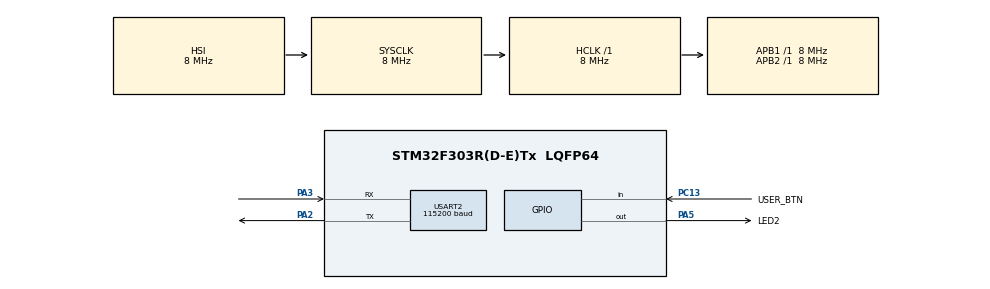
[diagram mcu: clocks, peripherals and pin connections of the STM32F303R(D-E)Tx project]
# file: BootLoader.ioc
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Mcu.Family=STM32F3
Mcu.Name=STM32F303R(D-E)Tx
Mcu.Package=LQFP64
NVIC.PriorityGroup=NVIC_PRIORITYGROUP_0
PA2.Mode=Asynchronous
PA2.Signal=USART2_TX
PA3.Mode=Asynchronous
PA3.Signal=USART2_RX
PA5.GPIO_Label=LED2
PA5.Signal=GPIO_Output
PC13.GPIO_Label=USER_BTN
PC13.Signal=GPIO_Input
ProjectManager.HeapSize=0x200
ProjectManager.StackSize=0x400
ProjectManager.TargetToolchain=STM32CubeIDE
RCC.AHBFreq_Value=8000000
RCC.APB1Freq_Value=8000000
RCC.APB2Freq_Value=8000000
RCC.CortexFreq_Value=8000000
RCC.HSE_VALUE=8000000
RCC.HSI_VALUE=8000000
RCC.LSE_VALUE=32768
RCC.SYSCLKFreq_VALUE=8000000
RCC.USBFreq_Value=16000000
USART2.BaudRate=115200
USART2.VirtualMode-Asynchronous=VM_ASYNC
VP_CRC_VS_CRC.Mode=CRC_Activate
board=custom

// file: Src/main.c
/* USER CODE BEGIN Header */
/**
  ******************************************************************************
  * @file           : main.c
  * @brief          : Main program body
  ******************************************************************************
  * @attention
  *
  * <h2><center>&copy; Copyright (c) 2020 STMicroelectronics.
  * All rights reserved.</center></h2>
  *
  * This software component is licensed by ST under BSD 3-Clause license,
  * the "License"; You may not use this file except in compliance with the
  * License. You may obtain a copy of the License at:
  *                        opensource.org/licenses/BSD-3-Clause
  *
  ******************************************************************************
  */
/* USER CODE END Header */

#include "main.h"

/* USER CODE BEGIN Includes */
#include <stdarg.h>
#include <string.h>
#include <stdint.h>

/* USER CODE END Includes */

/* USER CODE BEGIN PTD */
typedef enum
{
  NOT_BLINKING = 0U,
  BLINKING,
  TRANSITION_BLINK_TO_NOT_BLINKING,
  TRANSITION_TO_NOT_BLINKING
}Button_state_machine_t;

typedef enum
{
  BUTTON_PRESSED = 0U,
  BUTTON_RELEASED
}Button_status_t;

typedef struct
{
  uint16_t active_cnt;
  uint16_t deactive_cnt;
  const uint16_t hysteresis_cnt;
  Button_status_t current_btn_state_t;
}debounce_button_status_t;

/* USER CODE END PTD */

/* USER CODE BEGIN PD */
#define BL_DEBUG_MSG_EN
#define DEBUG_SERIAL_ENABLED_B 0
/* USER CODE END PD */

/* USER CODE BEGIN PM */
static void printmsg(char *format,...);

void bootloader_jump_to_user_app(void);
void bootloader_uart_read_data(void);
void bootloader_handle_getver_cmd(uint8_t *bl_rx_buffer);
void bootloader_handle_gethelp_cmd(uint8_t *pBuffer);
void bootloader_handle_getcid_cmd(uint8_t *pBuffer);
void bootloader_handle_getrdp_cmd(uint8_t *pBuffer);
void bootloader_handle_go_cmd(uint8_t *pBuffer);
void bootloader_handle_flash_erase_cmd(uint8_t *pBuffer);
void bootloader_handle_mem_write_cmd(uint8_t *pBuffer);
void bootloader_handle_en_rw_protect(uint8_t *pBuffer);
void bootloader_handle_mem_read (uint8_t *pBuffer);
void bootloader_handle_read_sector_protection_status(uint8_t *pBuffer);
void bootloader_handle_read_otp(uint8_t *pBuffer);
void bootloader_handle_dis_rw_protect(uint8_t *pBuffer);
uint8_t bootloader_verify_crc_swapped(uint8_t *pData, uint32_t len, uint32_t crc_host);
HAL_StatusTypeDef set_flash_rdp_level(uint8_t);
void bootloader_send_ack(uint8_t command_code, uint8_t follow_len);
void bootloader_send_nack(void);
HAL_StatusTypeDef disable_write_flash_prot(uint8_t page_number);

uint8_t bootloader_verify_crc (uint8_t *pData, uint32_t len,uint32_t crc_host);
uint8_t get_bootloader_version(void);
void bootloader_uart_write_data(uint8_t *pBuffer,uint32_t len);

uint16_t get_mcu_chip_id(void);
uint8_t get_flash_rdp_level(void);
uint8_t verify_address(uint32_t go_address);
uint8_t execute_flash_erase(uint8_t page_number , uint8_t number_of_page);
uint8_t execute_mem_write(uint8_t *pBuffer, uint32_t mem_address, uint32_t len);
uint32_t swap_byte_order(uint32_t num);

uint8_t configure_flash_sector_rw_protection(uint8_t sector_details, uint8_t protection_mode, uint8_t disable);

uint16_t read_OB_rw_protection_status(void);

uint32_t page_details_to_2pages(uint8_t page_details);

void init_debounce_struct_t(debounce_button_status_t *);

void init_debounce_struct_t(debounce_button_status_t *struct_t)
{
	struct_t->active_cnt = 0;
	struct_t->current_btn_state_t = BUTTON_RELEASED;
	struct_t->deactive_cnt = 0;
}

void debounc_btn(debounce_button_status_t *,const GPIO_PinState);

void debounc_btn(debounce_button_status_t *btn_status_t,const GPIO_PinState GPIO_return_t)
{
	uint32_t overflow_cntr = 0;
	if(GPIO_return_t == GPIO_PIN_RESET)
	{
		overflow_cntr = btn_status_t->active_cnt +1;
		if(overflow_cntr>65535)
		{
			btn_status_t->active_cnt = 65535;
		}
		else
		{
			btn_status_t->active_cnt = (uint16_t)overflow_cntr;
		}
		if(btn_status_t->active_cnt >= btn_status_t->hysteresis_cnt)
		{
			btn_status_t->current_btn_state_t = BUTTON_PRESSED;
		}
		else
		{
			btn_status_t->current_btn_state_t = BUTTON_RELEASED;
		}

	}
	else
	{
		btn_status_t->active_cnt = 0;
		btn_status_t->current_btn_state_t = BUTTON_RELEASED;
		overflow_cntr = btn_status_t->active_cnt +1;
		if(overflow_cntr>65535)
		{
			btn_status_t->deactive_cnt = 65535;
		}
		else
		{
			btn_status_t->deactive_cnt = (uint16_t)overflow_cntr;
		}
	}

}

/* USER CODE END PM */

CRC_HandleTypeDef hcrc;

UART_HandleTypeDef huart2;

/* USER CODE BEGIN PV */
#define D_UART &huart2
#define BL_RX_LEN 200
/* USER CODE END PV */

void SystemClock_Config(void);
static void MX_GPIO_Init(void);
static void MX_USART2_UART_Init(void);
static void MX_CRC_Init(void);

/* USER CODE BEGIN 0 */
static GPIO_PinState gpio_status_t = GPIO_PIN_RESET;
static debounce_button_status_t user_btn_status_t = {.hysteresis_cnt = 50};
static Button_state_machine_t button_state_t = NOT_BLINKING;
static HAL_StatusTypeDef uart_status_t;
char somedata[] = "Hello from Bootloader\r\n";
uint8_t bl_rx_buffer[BL_RX_LEN];
uint8_t supported_commands[] = {
                               BL_GET_VER ,
                               BL_GET_HELP,
                               BL_GET_CID,
                               BL_GET_RDP_STATUS,
                               BL_GO_TO_ADDR,
                               BL_FLASH_ERASE,
                               BL_MEM_WRITE,
                               BL_READ_SECTOR_P_STATUS} ;
/* USER CODE END 0 */

int main(void)
{

  /* MCU Configuration--------------------------------------------------------*/

  /* Reset of all peripherals, Initializes the Flash interface and the Systick. */
  HAL_Init();

  /* Configure the system clock */
  SystemClock_Config();

  /* Initialize all configured peripherals */
  MX_GPIO_Init();
  MX_USART2_UART_Init();
  MX_CRC_Init();
  /* USER CODE BEGIN 2 */
  init_debounce_struct_t(&user_btn_status_t);
  gpio_status_t = HAL_GPIO_ReadPin(USER_BTN_GPIO_Port,USER_BTN_Pin);
  if(gpio_status_t == GPIO_PIN_RESET)
  {
	  if(DEBUG_SERIAL_ENABLED_B)
	  {
		  printmsg("BL_DEBUG_MSG:Button is pressed .. going to BootLoader Mode\r\n");
	  }

	  bootloader_uart_read_data();
  }
  else
  {
	  if(DEBUG_SERIAL_ENABLED_B)
	  {
		  printmsg("BL_DEBUG_MSG:Button is not pressed .. going to execute user app\r\n");
	  }
	  bootloader_jump_to_user_app();
  }
  /* USER CODE END 2 */

  /* Infinite loop */
  /* USER CODE BEGIN WHILE */
  while (1)
  {

  }

  /* USER CODE END 3 */
}

void SystemClock_Config(void)
{
  RCC_OscInitTypeDef RCC_OscInitStruct = {0};
  RCC_ClkInitTypeDef RCC_ClkInitStruct = {0};
  RCC_PeriphCLKInitTypeDef PeriphClkInit = {0};

  /** Initializes the CPU, AHB and APB busses clocks
  */
  RCC_OscInitStruct.OscillatorType = RCC_OSCILLATORTYPE_HSI;
  RCC_OscInitStruct.HSIState = RCC_HSI_ON;
  RCC_OscInitStruct.HSICalibrationValue = RCC_HSICALIBRATION_DEFAULT;
  RCC_OscInitStruct.PLL.PLLState = RCC_PLL_NONE;
  if (HAL_RCC_OscConfig(&RCC_OscInitStruct) != HAL_OK)
  {
    Error_Handler();
  }
  /** Initializes the CPU, AHB and APB busses clocks
  */
  RCC_ClkInitStruct.ClockType = RCC_CLOCKTYPE_HCLK|RCC_CLOCKTYPE_SYSCLK
                              |RCC_CLOCKTYPE_PCLK1|RCC_CLOCKTYPE_PCLK2;
  RCC_ClkInitStruct.SYSCLKSource = RCC_SYSCLKSOURCE_HSI;
  RCC_ClkInitStruct.AHBCLKDivider = RCC_SYSCLK_DIV1;
  RCC_ClkInitStruct.APB1CLKDivider = RCC_HCLK_DIV1;
  RCC_ClkInitStruct.APB2CLKDivider = RCC_HCLK_DIV1;

  if (HAL_RCC_ClockConfig(&RCC_ClkInitStruct, FLASH_LATENCY_0) != HAL_OK)
  {
    Error_Handler();
  }
  PeriphClkInit.PeriphClockSelection = RCC_PERIPHCLK_USART2;
  PeriphClkInit.Usart2ClockSelection = RCC_USART2CLKSOURCE_PCLK1;
  if (HAL_RCCEx_PeriphCLKConfig(&PeriphClkInit) != HAL_OK)
  {
    Error_Handler();
  }
}

static void MX_CRC_Init(void)
{

  hcrc.Instance = CRC;
  hcrc.Init.DefaultPolynomialUse = DEFAULT_POLYNOMIAL_DISABLE;
  hcrc.Init.GeneratingPolynomial = 0x04C11DB7;
  hcrc.Init.DefaultInitValueUse = DEFAULT_INIT_VALUE_ENABLE;
  hcrc.Init.InputDataInversionMode = CRC_INPUTDATA_INVERSION_NONE;
  hcrc.Init.CRCLength = 32;
  hcrc.Init.OutputDataInversionMode = CRC_OUTPUTDATA_INVERSION_DISABLE;
  hcrc.InputDataFormat = CRC_INPUTDATA_FORMAT_WORDS;
  /*
   * hcrc.InputDataFormat = CRC_INPUTDATA_FORMAT_HALFWORDS : CRC = 3186128208 when it should be 2091641319
   * hcrc.InputDataFormat = CRC_INPUTDATA_FORMAT_BYTES : CRC = 3957076664 when it should be 2091641319
   */
  if (HAL_CRC_Init(&hcrc) != HAL_OK)
  {
    Error_Handler();
  }

}

static void MX_USART2_UART_Init(void)
{

  huart2.Instance = USART2;
  huart2.Init.BaudRate = 115200;
  huart2.Init.WordLength = UART_WORDLENGTH_8B;
  huart2.Init.StopBits = UART_STOPBITS_1;
  huart2.Init.Parity = UART_PARITY_NONE;
  huart2.Init.Mode = UART_MODE_TX_RX;
  huart2.Init.HwFlowCtl = UART_HWCONTROL_NONE;
  huart2.Init.OverSampling = UART_OVERSAMPLING_16;
  huart2.Init.OneBitSampling = UART_ONE_BIT_SAMPLE_DISABLE;
  huart2.AdvancedInit.AdvFeatureInit = UART_ADVFEATURE_NO_INIT;
  if (HAL_UART_Init(&huart2) != HAL_OK)
  {
    Error_Handler();
  }

}

static void MX_GPIO_Init(void)
{
  GPIO_InitTypeDef GPIO_InitStruct = {0};

  /* GPIO Ports Clock Enable */
  __HAL_RCC_GPIOC_CLK_ENABLE();
  __HAL_RCC_GPIOA_CLK_ENABLE();

  /*Configure GPIO pin Output Level */
  HAL_GPIO_WritePin(LED2_GPIO_Port, LED2_Pin, GPIO_PIN_RESET);

  /*Configure GPIO pin : USER_BTN_Pin */
  GPIO_InitStruct.Pin = USER_BTN_Pin;
  GPIO_InitStruct.Mode = GPIO_MODE_INPUT;
  GPIO_InitStruct.Pull = GPIO_NOPULL;
  HAL_GPIO_Init(USER_BTN_GPIO_Port, &GPIO_InitStruct);

  /*Configure GPIO pin : LED2_Pin */
  GPIO_InitStruct.Pin = LED2_Pin;
  GPIO_InitStruct.Mode = GPIO_MODE_OUTPUT_PP;
  GPIO_InitStruct.Pull = GPIO_NOPULL;
  GPIO_InitStruct.Speed = GPIO_SPEED_FREQ_LOW;
  HAL_GPIO_Init(LED2_GPIO_Port, &GPIO_InitStruct);

}

/* USER CODE BEGIN 4 */

/**************Implementation of Boot-loader Command Handle functions *********/

void printmsg(char *format,...)
{
#ifdef BL_DEBUG_MSG_EN
	char str[80];
	va_list args;
	va_start(args,format);
	vsprintf(str,format,args);
	HAL_UART_Transmit(D_UART,(uint8_t*)str,strlen(str),HAL_MAX_DELAY);
	va_end(args);
#endif
}

uint32_t swap_byte_order(uint32_t num)
{
	uint32_t swapped = 0;
	swapped = ((num>>24)&0xff) | // move byte 3 to byte 0
	                    ((num<<8)&0xff0000) | // move byte 1 to byte 2
	                    ((num>>8)&0xff00) | // move byte 2 to byte 1
	                    ((num<<24)&0xff000000); // byte 0 to byte 3
	return swapped;
}

/*Helper function to handle BL_GET_VER command */
void bootloader_handle_getver_cmd(uint8_t *bl_rx_buffer)
{
    uint8_t bl_version;

    // 1) verify the checksum
    if(DEBUG_SERIAL_ENABLED_B)
    {
      printmsg("BL_DEBUG_MSG:bootloader_handle_getver_cmd\r\n");
    }

	 //Total length of the command packet
	  uint32_t command_packet_len = bl_rx_buffer[0]+1 ;

	  //extract the CRC32 sent by the Host
	  uint32_t host_crc_not_swapped = *((uint32_t * ) (bl_rx_buffer+command_packet_len - 4) ) ;
	  //uint32_t swapped_crc = swap_byte_order(host_crc_not_swapped);

	  uint8_t ret_crc_u8 = bootloader_verify_crc(&bl_rx_buffer[0],command_packet_len-4,host_crc_not_swapped);
	  //uint8_t ret_crc_swapped_u8 = bootloader_verify_crc_swapped(&bl_rx_buffer[0],command_packet_len-4,swapped_crc);

    if (! bootloader_verify_crc(&bl_rx_buffer[0],command_packet_len-4,host_crc_not_swapped))
    {
    	if(DEBUG_SERIAL_ENABLED_B)
    	{
    		printmsg("BL_DEBUG_MSG:checksum success !!\n");
    	}
        // checksum is correct..
        bootloader_send_ack(bl_rx_buffer[0],1);
        bl_version=get_bootloader_version();
        if(DEBUG_SERIAL_ENABLED_B)
        {
        	printmsg("BL_DEBUG_MSG:BL_VER : %d %#x\n",bl_version,bl_version);
        }
        bootloader_uart_write_data(&bl_version,1);

    }
    else
    {
    	if(DEBUG_SERIAL_ENABLED_B)
    	{
    		printmsg("BL_DEBUG_MSG:checksum fail !!\n");
    	}
        //checksum is wrong send nack
        bootloader_send_nack();
    }

}

/*Helper function to handle BL_GET_HELP command
 * Bootloader sends out All supported Command codes
 */
void bootloader_handle_gethelp_cmd(uint8_t *pBuffer)
{
	if(DEBUG_SERIAL_ENABLED_B)
	{
		printmsg("BL_DEBUG_MSG:bootloader_handle_gethelp_cmd\n");
	}

	//Total length of the command packet
	uint32_t command_packet_len = bl_rx_buffer[0]+1 ;

	//extract the CRC32 sent by the Host
	uint32_t host_crc = *((uint32_t * ) (bl_rx_buffer+command_packet_len - 4) ) ;

	if (! bootloader_verify_crc(&bl_rx_buffer[0],command_packet_len-4,host_crc))
	{
		if(DEBUG_SERIAL_ENABLED_B)
		{
			printmsg("BL_DEBUG_MSG:checksum success !!\n");
		}
        bootloader_send_ack(pBuffer[0],sizeof(supported_commands));
        bootloader_uart_write_data(supported_commands,sizeof(supported_commands) );

	}else
	{
		if(DEBUG_SERIAL_ENABLED_B)
		{
			printmsg("BL_DEBUG_MSG:checksum fail !!\n");
		}
        bootloader_send_nack();
	}

}

/*Helper function to handle BL_GET_CID command */
void bootloader_handle_getcid_cmd(uint8_t *pBuffer)
{
	uint16_t bl_cid_num = 0;
	if(DEBUG_SERIAL_ENABLED_B)
	{
		printmsg("BL_DEBUG_MSG:bootloader_handle_getcid_cmd\n");
	}

    //Total length of the command packet
	uint32_t command_packet_len = bl_rx_buffer[0]+1 ;

	//extract the CRC32 sent by the Host
	uint32_t host_crc = *((uint32_t * ) (bl_rx_buffer+command_packet_len - 4) ) ;

	if (! bootloader_verify_crc(&bl_rx_buffer[0],command_packet_len-4,host_crc))
	{
		if(DEBUG_SERIAL_ENABLED_B)
		{
			printmsg("BL_DEBUG_MSG:checksum success !!\n");
		}
        bootloader_send_ack(pBuffer[0],2);
        bl_cid_num = get_mcu_chip_id();
        if(DEBUG_SERIAL_ENABLED_B)
        {
        	printmsg("BL_DEBUG_MSG:MCU id : %d %#x !!\n",bl_cid_num, bl_cid_num);
        }
        bootloader_uart_write_data((uint8_t *)&bl_cid_num,2);

	}else
	{
        printmsg("BL_DEBUG_MSG:checksum fail !!\n");
        bootloader_send_nack();
	}

}

/*Helper function to handle BL_GET_RDP_STATUS command */
void bootloader_handle_getrdp_cmd(uint8_t *pBuffer)
{
    uint8_t rdp_level = 0x00;
    if(DEBUG_SERIAL_ENABLED_B)
    {
    	printmsg("BL_DEBUG_MSG:bootloader_handle_getrdp_cmd\n");
    }
    //Total length of the command packet
	uint32_t command_packet_len = bl_rx_buffer[0]+1 ;

	//extract the CRC32 sent by the Host
	uint32_t host_crc = *((uint32_t * ) (bl_rx_buffer+command_packet_len - 4) ) ;

	if (! bootloader_verify_crc(&bl_rx_buffer[0],command_packet_len-4,host_crc))
	{
	    if(DEBUG_SERIAL_ENABLED_B)
	    {
	    	printmsg("BL_DEBUG_MSG:checksum success !!\n");
	    }
        bootloader_send_ack(pBuffer[0],1);
        rdp_level = get_flash_rdp_level();
        if(DEBUG_SERIAL_ENABLED_B)
        {
        	printmsg("BL_DEBUG_MSG:RDP level: %d %#x\n",rdp_level,rdp_level);
        }
        bootloader_uart_write_data(&rdp_level,1);

	}else
	{
		if(DEBUG_SERIAL_ENABLED_B)
		{
			printmsg("BL_DEBUG_MSG:checksum fail !!\n");
		}
        bootloader_send_nack();
	}

}

/*Helper function to handle BL_GO_TO_ADDR command */
void bootloader_handle_go_cmd(uint8_t *pBuffer)
{
    uint32_t go_address=0;
    uint8_t addr_valid = ADDR_VALID;
    uint8_t addr_invalid = ADDR_INVALID;
    if(DEBUG_SERIAL_ENABLED_B)
    {
    	printmsg("BL_DEBUG_MSG:bootloader_handle_go_cmd\n");
    }

    //Total length of the command packet
	uint32_t command_packet_len = bl_rx_buffer[0]+1 ;

	//extract the CRC32 sent by the Host
	uint32_t host_crc = *((uint32_t * ) (bl_rx_buffer+command_packet_len - 4) ) ;

	if (! bootloader_verify_crc(&bl_rx_buffer[0],command_packet_len-4,host_crc))
	{
		if(DEBUG_SERIAL_ENABLED_B)
		{
			printmsg("BL_DEBUG_MSG:checksum success !!\n");
		}

        bootloader_send_ack(pBuffer[0],1);

        //extract the go address
        go_address = *((uint32_t *)&pBuffer[2] );
        if(DEBUG_SERIAL_ENABLED_B)
        {
        	printmsg("BL_DEBUG_MSG:GO addr: %#x\n",go_address);
        }

        if( verify_address(go_address) == ADDR_VALID )
        {
            //tell host that address is fine
            bootloader_uart_write_data(&addr_valid,1);

            /*jump to "go" address.
            we dont care what is being done there.
            host must ensure that valid code is present over there
            Its not the duty of bootloader. so just trust and jump */

            /* Not doing the below line will result in hardfault exception for ARM cortex M */
            //watch : https://www.youtube.com/watch?v=VX_12SjnNhY

            go_address+=1; //make T bit =1

            void (*lets_jump)(void) = (void *)go_address;

            if(DEBUG_SERIAL_ENABLED_B)
            {
            	printmsg("BL_DEBUG_MSG: jumping to go address! \n");
            }
            lets_jump();

		}else
		{
			if(DEBUG_SERIAL_ENABLED_B)
			{
				printmsg("BL_DEBUG_MSG:GO addr invalid ! \n");
			}
				//tell host that address is invalid
            bootloader_uart_write_data(&addr_invalid,1);
		}

	}
	else
	{
		if(DEBUG_SERIAL_ENABLED_B)
		{
			printmsg("BL_DEBUG_MSG:checksum fail !!\n");
		}
		bootloader_send_nack();
	}

}

/*Helper function to handle BL_FLASH_ERASE command */
void bootloader_handle_flash_erase_cmd(uint8_t *pBuffer)
{
    uint8_t erase_status = 0x00;
    if(DEBUG_SERIAL_ENABLED_B)
    {
    	printmsg("BL_DEBUG_MSG:bootloader_handle_flash_erase_cmd\n");
    }
    //Total length of the command packet
	uint32_t command_packet_len = bl_rx_buffer[0]+1 ;

	//extract the CRC32 sent by the Host
	uint32_t host_crc = *((uint32_t * ) (bl_rx_buffer+command_packet_len - 4) ) ;

	if (! bootloader_verify_crc(&bl_rx_buffer[0],command_packet_len-4,host_crc))
	{
		if(DEBUG_SERIAL_ENABLED_B)
		{
			printmsg("BL_DEBUG_MSG:checksum success !!\n");
		}
        bootloader_send_ack(pBuffer[0],1);
        if(DEBUG_SERIAL_ENABLED_B)
        {
        	printmsg("BL_DEBUG_MSG:initial_sector : %d  no_ofsectors: %d\n",pBuffer[2],pBuffer[3]);
        }

        HAL_GPIO_WritePin(LED2_GPIO_Port, LED2_Pin,1);
        erase_status = execute_flash_erase(pBuffer[2] , pBuffer[3]);
        HAL_GPIO_WritePin(LED2_GPIO_Port, LED2_Pin,0);

        if(DEBUG_SERIAL_ENABLED_B)
        {
        	printmsg("BL_DEBUG_MSG: flash erase status: %#x\n",erase_status);
        }

        bootloader_uart_write_data(&erase_status,1);

	}else
	{
		if(DEBUG_SERIAL_ENABLED_B)
		{
			printmsg("BL_DEBUG_MSG:checksum fail !!\n");
		}
		bootloader_send_nack();
	}
}

/*Helper function to handle BL_MEM_WRITE command */
void bootloader_handle_mem_write_cmd(uint8_t *pBuffer)
{
	uint8_t addr_valid = ADDR_VALID;
	uint8_t write_status = 0x00;
	uint8_t chksum =0, len=0;
	len = pBuffer[0];
	uint8_t payload_len = pBuffer[6];

	uint32_t mem_address = *((uint32_t *) ( &pBuffer[2]) );

	chksum = pBuffer[len];
	if(DEBUG_SERIAL_ENABLED_B)
	{
		printmsg("BL_DEBUG_MSG:bootloader_handle_mem_write_cmd\n");
	}

    //Total length of the command packet
	uint32_t command_packet_len = bl_rx_buffer[0]+1 ;

	//extract the CRC32 sent by the Host
	uint32_t host_crc = *((uint32_t * ) (bl_rx_buffer+command_packet_len - 4) ) ;

	if (! bootloader_verify_crc(&bl_rx_buffer[0],command_packet_len-4,host_crc))
	{
		if(DEBUG_SERIAL_ENABLED_B)
		{
			printmsg("BL_DEBUG_MSG:checksum success !!\n");
		}

        bootloader_send_ack(pBuffer[0],1);

        if(DEBUG_SERIAL_ENABLED_B)
        {
        	printmsg("BL_DEBUG_MSG: mem write address : %#x\n",mem_address);
        }

		if( verify_address(mem_address) == ADDR_VALID )
		{

			if(DEBUG_SERIAL_ENABLED_B)
			{
				printmsg("BL_DEBUG_MSG: valid mem write address\n");
			}

            //glow the led to indicate bootloader is currently writing to memory
            HAL_GPIO_WritePin(LED2_GPIO_Port, LED2_Pin, GPIO_PIN_SET);

            //execute mem write
            write_status = execute_mem_write(&pBuffer[7],mem_address, payload_len);

            //turn off the led to indicate memory write is over
            HAL_GPIO_WritePin(LED2_GPIO_Port, LED2_Pin, GPIO_PIN_RESET);

            //inform host about the status
            bootloader_uart_write_data(&write_status,1);

		}
		else
		{
			if(DEBUG_SERIAL_ENABLED_B)
			{
				printmsg("BL_DEBUG_MSG: invalid mem write address\n");
			}
            write_status = ADDR_INVALID;
            //inform host that address is invalid
            bootloader_uart_write_data(&write_status,1);
		}

	}
	else
	{
		if(DEBUG_SERIAL_ENABLED_B)
		{
			printmsg("BL_DEBUG_MSG:checksum fail !!\n");
		}
        bootloader_send_nack();
	}

}

/*Helper function to handle BL_EN_RW_PROTECT  command */
void bootloader_handle_en_rw_protect(uint8_t *pBuffer)
{
    uint8_t status = 0x00;
    if(DEBUG_SERIAL_ENABLED_B)
    {
    	printmsg("BL_DEBUG_MSG:bootloader_handle_endis_rw_protect\n");
    }

    //Total length of the command packet
	uint32_t command_packet_len = bl_rx_buffer[0]+1 ;

	//extract the CRC32 sent by the Host
	uint32_t host_crc = *((uint32_t * ) (bl_rx_buffer+command_packet_len - 4) ) ;

	if (! bootloader_verify_crc(&bl_rx_buffer[0],command_packet_len-4,host_crc))
	{
		if(DEBUG_SERIAL_ENABLED_B)
		{
			printmsg("BL_DEBUG_MSG:checksum success !!\n");
		}
        bootloader_send_ack(pBuffer[0],1);

        status = configure_flash_sector_rw_protection(pBuffer[2] , pBuffer[3],0);
        if(DEBUG_SERIAL_ENABLED_B)
        {
        	printmsg("BL_DEBUG_MSG: flash erase status: %#x\n",status);
        }

        bootloader_uart_write_data(&status,1);

	}
	else
	{
		if(DEBUG_SERIAL_ENABLED_B)
		{
			printmsg("BL_DEBUG_MSG:checksum fail !!\n");
		}
        bootloader_send_nack();
	}

}

/*Helper function to handle BL_EN_RW_PROTECT  command */
void bootloader_handle_dis_rw_protect(uint8_t *pBuffer)
{
    uint8_t status = 0x00;
    if(DEBUG_SERIAL_ENABLED_B)
    {
    	printmsg("BL_DEBUG_MSG:bootloader_handle_dis_rw_protect\n");
    }

    //Total length of the command packet
	uint32_t command_packet_len = bl_rx_buffer[0]+1 ;

	//extract the CRC32 sent by the Host
	uint32_t host_crc = *((uint32_t * ) (bl_rx_buffer+command_packet_len - 4) ) ;

	if (! bootloader_verify_crc(&bl_rx_buffer[0],command_packet_len-4,host_crc))
	{
		if(DEBUG_SERIAL_ENABLED_B)
		{
			printmsg("BL_DEBUG_MSG:checksum success !!\n");
		}

		bootloader_send_ack(pBuffer[0],1);
        status = configure_flash_sector_rw_protection(0,0,1);
        if(DEBUG_SERIAL_ENABLED_B)
        {
        	printmsg("BL_DEBUG_MSG: flash erase status: %#x\n",status);
        }

        bootloader_uart_write_data(&status,1);

	}
	else
	{
		if(DEBUG_SERIAL_ENABLED_B)
		{
			printmsg("BL_DEBUG_MSG:checksum fail !!\n");
		}
		bootloader_send_nack();
	}

}

/*Helper function to handle BL_MEM_READ command */
void bootloader_handle_mem_read (uint8_t *pBuffer)
{

}

/*Helper function to handle _BL_READ_SECTOR_P_STATUS command */
void bootloader_handle_read_sector_protection_status(uint8_t *pBuffer)
{
	 uint16_t status;
	 if(DEBUG_SERIAL_ENABLED_B)
	 {
		 printmsg("BL_DEBUG_MSG:bootloader_handle_read_sector_protection_status\n");
	 }

    //Total length of the command packet
	uint32_t command_packet_len = bl_rx_buffer[0]+1 ;

	//extract the CRC32 sent by the Host
	uint32_t host_crc = *((uint32_t * ) (bl_rx_buffer+command_packet_len - 4) ) ;

	if (! bootloader_verify_crc(&bl_rx_buffer[0],command_packet_len-4,host_crc))
	{
		if(DEBUG_SERIAL_ENABLED_B)
		{
			printmsg("BL_DEBUG_MSG:checksum success !!\n");
		}
        bootloader_send_ack(pBuffer[0],2);
        status=read_OB_rw_protection_status();
        if(DEBUG_SERIAL_ENABLED_B)
        {
        	printmsg("BL_DEBUG_MSG: nWRP status: %#x\n",status);
        }
        bootloader_uart_write_data((uint8_t*)&status,2);

	}
	else
	{
		if(DEBUG_SERIAL_ENABLED_B)
		{
			printmsg("BL_DEBUG_MSG:checksum fail !!\n");
		}
        bootloader_send_nack();
	}

}

/*Helper function to handle BL_OTP_READ command */
void bootloader_handle_read_otp(uint8_t *pBuffer)
{

}

/*This function sends ACK if CRC matches along with "len to follow"*/
void bootloader_send_ack(uint8_t command_code, uint8_t follow_len)
{
	 //here we send 2 byte.. first byte is ack and the second byte is len value
	uint8_t ack_buf[2];
	ack_buf[0] = BL_ACK;
	ack_buf[1] = follow_len;
	HAL_UART_Transmit(D_UART,ack_buf,2,HAL_MAX_DELAY);

}

/*This function sends NACK */
void bootloader_send_nack(void)
{
	uint8_t nack = BL_NACK;
	HAL_UART_Transmit(D_UART,&nack,1,HAL_MAX_DELAY);
}

//This verifies the CRC of the given buffer in pData .
uint8_t bootloader_verify_crc (uint8_t *pData, uint32_t len, uint32_t crc_host)
{
    uint32_t uwCRCValue;
    //uint32_t test = 0xf;
    CRC->CR |= CRC_CR_RESET;

    for (uint32_t i=0 ; i < len ; i++)
	{
        uint32_t i_data = pData[i];
        uint32_t i_data_test = (uint32_t)pData[i];
        uwCRCValue = HAL_CRC_Accumulate(&hcrc, &i_data, 1);
        //test = HAL_CRC_Accumulate(&hcrc, &i_data_test, 1);
	}

	 /* Reset CRC Calculation Unit */
  __HAL_CRC_DR_RESET(&hcrc);

	if( uwCRCValue == crc_host)
	{
		return VERIFY_CRC_SUCCESS;
	}

	return VERIFY_CRC_FAIL;
}

uint8_t bootloader_verify_crc_swapped(uint8_t *pData, uint32_t len, uint32_t crc_host)
{
    uint32_t uwCRCValue;
    //uint32_t test = 0xf;
    CRC->CR |= CRC_CR_RESET;
    for (uint32_t i=len ; i > 0 ; i--)
	{
        uint32_t i_data = pData[i-1];
        uint32_t i_data_test = (uint32_t)pData[i-1];
        uwCRCValue = HAL_CRC_Accumulate(&hcrc, &i_data, 1);
        //test = HAL_CRC_Accumulate(&hcrc, &i_data_test, 1);
	}

	 /* Reset CRC Calculation Unit */
  __HAL_CRC_DR_RESET(&hcrc);

	if( uwCRCValue == crc_host)
	{
		return VERIFY_CRC_SUCCESS;
	}

	return VERIFY_CRC_FAIL;
}

void bootloader_uart_read_data(void)
{
	uint8_t rcv_len = 0;
	HAL_StatusTypeDef uart_t;

	//HAL_UART_Receive(UART_HandleTypeDef *huart, uint8_t *pData, uint16_t Size, uint32_t Timeout)
	while(1)
	{
		memset(bl_rx_buffer,0,200);
		//here we will read and decode the commands coming from host
		//first read only one byte from the host , which is the "length" field of the command packet
		uart_t = HAL_UART_Receive(D_UART,bl_rx_buffer,1,HAL_MAX_DELAY);
		rcv_len= bl_rx_buffer[0];
		uart_t = HAL_UART_Receive(D_UART,&bl_rx_buffer[1],rcv_len,HAL_MAX_DELAY);
		switch(bl_rx_buffer[1])
		{
            case BL_GET_VER:
                bootloader_handle_getver_cmd(bl_rx_buffer);
                break;
            case BL_GET_HELP:
                bootloader_handle_gethelp_cmd(bl_rx_buffer);
                break;
            case BL_GET_CID:
                bootloader_handle_getcid_cmd(bl_rx_buffer);
                break;
            case BL_GET_RDP_STATUS:
                bootloader_handle_getrdp_cmd(bl_rx_buffer);
                break;
            case BL_GO_TO_ADDR:
                bootloader_handle_go_cmd(bl_rx_buffer);
                break;
            case BL_FLASH_ERASE:
                bootloader_handle_flash_erase_cmd(bl_rx_buffer);
                break;
            case BL_MEM_WRITE:
                bootloader_handle_mem_write_cmd(bl_rx_buffer);
                break;
            case BL_EN_RW_PROTECT:
                bootloader_handle_en_rw_protect(bl_rx_buffer);
                break;
            case BL_MEM_READ:
                bootloader_handle_mem_read(bl_rx_buffer);
                break;
            case BL_READ_SECTOR_P_STATUS:
                bootloader_handle_read_sector_protection_status(bl_rx_buffer);
                break;
            case BL_OTP_READ:
                bootloader_handle_read_otp(bl_rx_buffer);
                break;
			case BL_DIS_R_W_PROTECT:
                bootloader_handle_dis_rw_protect(bl_rx_buffer);
                break;
             default:
                printmsg("BL_DEBUG_MSG:Invalid command code received from host \n");
                break;

		}

	}

}
void bootloader_jump_to_user_app(void)
{
	void (*app_reset_handler)(void);
	printmsg("BL_DEBUG_MSG:bootloader_jump_to_user_app\r\n");
	uint32_t msp_value = *(volatile uint32_t *)FLASH_SECTOR2_BASE_ADDRESS;
	printmsg("BL_DEBUG_MSG:msp_value : %#x\r\n",msp_value);

	__set_MSP(msp_value);

	// Now fetch reset handler address of user app
	uint32_t resethandler_address = *(volatile uint32_t *)(FLASH_SECTOR2_BASE_ADDRESS+4);
	app_reset_handler = (void*)resethandler_address;
	printmsg("BL_DEBUG_MSG: app reset handler addr: %#x\r\n",app_reset_handler);
	app_reset_handler();
}

/* This function writes data in to C_UART */
void bootloader_uart_write_data(uint8_t *pBuffer,uint32_t len)
{
    /*you can replace the below ST's USART driver API call with your MCUs driver API call */
	HAL_UART_Transmit(D_UART,pBuffer,len,HAL_MAX_DELAY);

}

//Just returns the macro value .
uint8_t get_bootloader_version(void)
{
  return (uint8_t)BL_VERSION;
}

//Read the chip identifier or device Identifier
uint16_t get_mcu_chip_id(void)
{
/*
	The STM32F446xx MCUs integrate an MCU ID code. This ID identifies the ST MCU partnumber
	and the die revision. It is part of the DBG_MCU component and is mapped on the
	external PPB bus (see Section 33.16 on page 1304). This code is accessible using the
	JTAG debug pCat.2ort (4 to 5 pins) or the SW debug port (two pins) or by the user software.
	It is even accessible while the MCU is under system reset. */
	uint16_t cid;
	cid = (uint16_t)(DBGMCU->IDCODE) & 0x0FFF;
	return  cid;

}

/*This function reads the RDP ( Read protection option byte) value
 *For more info refer "Table 9. Description of the option bytes" in stm32f446xx RM
 */
uint8_t get_flash_rdp_level(void)
{

	uint8_t rdp_status=0;
#if 0
	FLASH_OBProgramInitTypeDef  ob_handle;
	HAL_FLASHEx_OBGetConfig(&ob_handle);
	rdp_status = (uint8_t)ob_handle.RDPLevel;
#else

	 volatile uint32_t *pOB_addr = (uint32_t*) 0x1FFFF800;
	 rdp_status =  (uint8_t)(*pOB_addr & 0xFF) ;
#endif

	return rdp_status;

}

//verify the address sent by the host .
uint8_t verify_address(uint32_t go_address)
{
	//so, what are the valid addresses to which we can jump ?
	//can we jump to system memory ? yes
	//can we jump to sram1 memory ?  yes
	//can we jump to sram2 memory ? yes
	//can we jump to backup sram memory ? yes
	//can we jump to peripheral memory ? its possible , but dont allow. so no
	//can we jump to external memory ? yes.

//incomplete -poorly written .. optimize it
	if ( go_address >= SRAM_BASE && go_address <= SRAM1_END)
	{
		return ADDR_VALID;
	}
	else if ( go_address >= FLASH_BASE && go_address <= 0x0807FFFFU)
	{
		return ADDR_VALID;
	}
	else
	{
		return ADDR_INVALID;
	}
}

 uint8_t execute_flash_erase(uint8_t page_number , uint8_t number_of_page)
{
    //we have totally 256 pages in STM32F303RE mcu .. page[0 to 255]
	//number_of_page has to be in the range of 0 to 255
	// if page_number = 0xff , that means mass erase !
	//Code needs to modified if your MCU supports more flash pages
	 /*
	  * To erase a page, the procedure below should be followed:
		1. Check that no Flash memory operation is ongoing by checking the BSY bit in the
		FLASH_CR register.
		2. Set the PER bit in the FLASH_CR register
		3. Program the FLASH_AR register to select a page to erase
		4. Set the STRT bit in the FLASH_CR register (see below note)
		5. Wait for the BSY bit to be reset
		6. Check the EOP flag in the FLASH_SR register (it is set when the erase operation has
		succeeded), and then clear it by software.
		7. Clear the EOP flag.
		#define FLASH_TYPEERASE_PAGES     (0x00U)  !<Pages erase only
#define FLASH_TYPEERASE_MASSERASE (0x01U)  !<Flash mass erase activation

typedef struct
{
  uint32_t TypeErase;   /!< TypeErase: Mass erase or page erase.
                             This parameter can be a value of @ref FLASHEx_Type_Erase /

  uint32_t PageAddress; /!< PageAdress: Initial FLASH page address to erase when mass erase is disabled
                             This parameter must be a number between Min_Data = FLASH_BASE and Max_Data = FLASH_BANK1_END /

  uint32_t NbPages;     /!< NbPages: Number of pagess to be erased.
                             This parameter must be a value between Min_Data = 1 and Max_Data = (max number of 1pages - value of initial page)/

} FLASH_EraseInitTypeDef;
	  *Page 16 is where app is located
	  *
	  */
	FLASH_EraseInitTypeDef flashErase_handle;
	uint32_t pageError;
	HAL_StatusTypeDef status;

	if( number_of_page > 255 )
		return INVALID_SECTOR;

	if( (page_number == 0xff ) || (page_number <= 255) )
	{
		if(page_number == (uint8_t) 0xff)
		{
			flashErase_handle.TypeErase = FLASH_TYPEERASE_MASSERASE;
			flashErase_handle.PageAddress = FLASH_BASE;
			flashErase_handle.NbPages = 255;
		}
		else
		{
		    // Here we are just calculating how many sectors needs to erased
			uint8_t remanining_pages = 256 - page_number;
			uint32_t page_address = FLASH_BASE+(FLASH_PAGE_SIZE*page_number);
            if( number_of_page > remanining_pages)
            {
            	number_of_page = remanining_pages;
            }
            else if(number_of_page < 1)
            {
            	return INVALID_SECTOR;
            }
            else
            {
            	//do nothing
            }
			flashErase_handle.TypeErase = FLASH_TYPEERASE_PAGES;
			flashErase_handle.PageAddress = page_address; // this is the initial sector
			flashErase_handle.NbPages = number_of_page;
		}
		//flashErase_handle.Banks = FLASH_BANK_1;

		//Get access to touch the flash registers
		HAL_FLASH_Unlock();
		status = (uint8_t) HAL_FLASHEx_Erase(&flashErase_handle, &pageError);
		HAL_FLASH_Lock();

		return status;
	}

	return INVALID_SECTOR;
}

/*This function writes the contents of pBuffer to  "mem_address" byte by byte */
//Note1 : Currently this function supports writing to Flash only .
//Note2 : This functions does not check whether "mem_address" is a valid address of the flash range.
uint8_t execute_mem_write(uint8_t *pBuffer, uint32_t mem_address, uint32_t len)
{
    uint8_t status=HAL_OK;
    uint8_t count = 0;
    uint16_t packed_data_u16 = 0;
    uint64_t packed_data_u64 =0;
    /*
     *
     *
     *  1. Check that no main Flash memory operation is ongoing by checking the BSY bit in the
			FLASH_SR register.
		2. Set the PG bit in the FLASH_CR register.
		3. Perform the data write (half-word) at the desired address.
		4. Wait until the BSY bit is reset in the FLASH_SR register.
		5. Check the EOP flag in the FLASH_SR register (it is set when the programming
			operation has succeeded), and then clear it by software.
     */

    if(IS_FLASH_PROGRAM_ADDRESS(mem_address))
    {
		//We have to unlock flash module to get control of registers
		HAL_FLASH_Unlock();

		for(uint32_t i = 0 ; i <len ; i=i+2)
		{
			count = 0;
			packed_data_u16 = 0;
			packed_data_u64 = 0;
			//Here we program the flash byte by byte but now we need two byte uint16
			//status = HAL_FLASH_Program(FLASH_TYPEPROGRAM_BYTE,mem_address+i,pBuffer[i] );
			for(count = 0;count<2;count++)
			{
				if(count == 0)
				{
					packed_data_u16 ^= pBuffer[i];

				}
				else if(count == 1 && i+1 < len)
				{
					packed_data_u16 ^= (uint16_t)(pBuffer[i+1] << 8);
				}
				else
				{
					packed_data_u16 ^= 0xFF00u;
				}
			}
			// HAL_FLASH_Program(uint32_t TypeProgram, uint32_t Address, uint64_t Data)
			packed_data_u64 = (uint64_t)packed_data_u16;
			status = HAL_FLASH_Program(FLASH_TYPEPROGRAM_HALFWORD,mem_address+i,packed_data_u64);
		}

		HAL_FLASH_Lock();
	}
    else
    {
    	status = HAL_ERROR;
    }

    return status;
}

uint32_t page_details_to_2pages(uint8_t page_details)
{
	uint32_t return_register = 0;
	if(page_details <= 15)
	{
		//bits 0-7 reflect 2 pages WRP0 WRP0: Write-protects pages 0 to 15
		if(page_details < 2)
		{
			return_register =1;
		}
		else if(page_details < 4)
		{
			return_register =2;
		}
		else if(page_details < 6)
		{
			return_register =4;
		}
		else if(page_details < 8)
		{
			return_register =8;
		}
		else if(page_details < 10)
		{
			return_register =16;
		}
		else if(page_details < 12)
		{
			return_register =32;
		}
		else if(page_details < 14)
		{
			return_register =64;
		}
		else
		{
			return_register =128;
		}
	}
	else if(page_details <= 31)
	{
		if(page_details < 18)
		{
			return_register =256;
		}
		else if(page_details < 20)
		{
			return_register =512;
		}
		else if(page_details < 22)
		{
			return_register =1024;
		}
		else if(page_details < 24)
		{
			return_register =2048;
		}
		else if(page_details < 26)
		{
			return_register =4096;
		}
		else if(page_details < 28)
		{
			return_register =8192;
		}
		else if(page_details < 30)
		{
			return_register =16384;
		}
		else
		{
			return_register =32768;
		}
	}
	else if(page_details <= 47)
	{
		if(page_details < 34)
		{
			return_register =65536;
		}
		else if(page_details < 36)
		{
			return_register =131072;
		}
		else if(page_details < 38)
		{
			return_register =262144;
		}
		else if(page_details < 40)
		{
			return_register =524288;
		}
		else if(page_details < 42)
		{
			return_register =1048576;
		}
		else if(page_details < 44)
		{
			return_register =2097152;
		}
		else if(page_details < 46)
		{
			return_register =4194304;
		}
		else
		{
			return_register =8388608;
		}
	}
	else
	{
		return_register =0xFF000000;
	}
	return return_register;
}

HAL_StatusTypeDef set_flash_rdp_level(uint8_t level)
{
	HAL_StatusTypeDef rdp_status = HAL_OK;

	/* Check the parameters */
	assert_param(IS_OB_RDP_LEVEL(level));
	HAL_FLASH_OB_Unlock();
	while(__HAL_FLASH_GET_FLAG(FLASH_FLAG_BSY) != RESET);
	FLASH_OBProgramInitTypeDef  ob_handle;
	HAL_FLASHEx_OBGetConfig(&ob_handle);

	/* Enable the Option Bytes Programming operation */
	SET_BIT(FLASH->CR, FLASH_CR_OPTPG);

	WRITE_REG(OB->RDP, level);

	/* Wait for last operation to be completed */
	while(__HAL_FLASH_GET_FLAG(FLASH_FLAG_BSY) != RESET);

	/* if the program operation is completed, disable the OPTPG Bit */
	CLEAR_BIT(FLASH->CR, FLASH_CR_OPTPG);

	while(__HAL_FLASH_GET_FLAG(FLASH_FLAG_BSY) != RESET);
	HAL_FLASH_OB_Lock();

	rdp_status = ob_handle.RDPLevel;

	return rdp_status;

}

HAL_StatusTypeDef disable_write_flash_prot(uint8_t page_number)
{
    uint16_t WRP0_Data = 0xFFFFU;
    uint16_t WRP1_Data = 0xFFFFU;
    uint16_t WRP2_Data = 0xFFFFU;
    uint16_t WRP3_Data = 0xFFFFU;
    uint32_t flash_reg = (uint32_t)(READ_REG(FLASH->WRPR));
    uint32_t WriteProtectPage = 1;
    HAL_StatusTypeDef status = HAL_OK;
    status = HAL_FLASH_OB_Unlock();
    	WriteProtectPage = page_details_to_2pages(page_number);
    	assert_param(IS_OB_WRP(WriteProtectPage));
    	WriteProtectPage = (flash_reg | WriteProtectPage);
		#if defined(OB_WRP_PAGES0TO15MASK)
		  WRP0_Data = (uint16_t)(WriteProtectPage & OB_WRP_PAGES0TO15MASK);
		#endif /* OB_WRP_PAGES0TO31MASK */

		#if defined(OB_WRP_PAGES16TO31MASK)
		  WRP1_Data = (uint16_t)((WriteProtectPage & OB_WRP_PAGES16TO31MASK) >> 8U);
		#endif /* OB_WRP_PAGES32TO63MASK */

		#if defined(OB_WRP_PAGES32TO47MASK)
		  WRP2_Data = (uint16_t)((WriteProtectPage & OB_WRP_PAGES32TO47MASK) >> 16U);
		#endif /* OB_WRP_PAGES32TO47MASK */

		#if defined(OB_WRP_PAGES48TO127MASK)
		  WRP3_Data = (uint16_t)((WriteProtectPage & OB_WRP_PAGES48TO127MASK) >> 24U);
		#elif defined(OB_WRP_PAGES48TO255MASK)
		  WRP3_Data = (uint16_t)((WriteProtectPage & OB_WRP_PAGES48TO255MASK) >> 24U);
		#endif

	if (status == HAL_OK)
	{
		SET_BIT(FLASH->CR, FLASH_CR_OPTPG);
		#if defined(OB_WRP0_WRP0)
			  if(WRP0_Data != 0xFFU)
			  {
				OB->WRP0 |= WRP0_Data;

				/* Wait for last operation to be completed */
				status = FLASH_WaitForLastOperation((uint32_t)FLASH_TIMEOUT_VALUE);
			  }
		#endif /* OB_WRP0_WRP0 */

		#if defined(OB_WRP1_WRP1)
			  if((status == HAL_OK) && (WRP1_Data != 0xFFU))
			  {
				OB->WRP1 |= WRP1_Data;

				/* Wait for last operation to be completed */
				while(__HAL_FLASH_GET_FLAG(FLASH_FLAG_BSY) != RESET);
			  }
		#endif /* OB_WRP1_WRP1 */

		#if defined(OB_WRP2_WRP2)
			  if((status == HAL_OK) && (WRP2_Data != 0xFFU))
			  {
				OB->WRP2 |= WRP2_Data;

				/* Wait for last operation to be completed */
				while(__HAL_FLASH_GET_FLAG(FLASH_FLAG_BSY) != RESET);
			  }
		#endif /* OB_WRP2_WRP2 */

		#if defined(OB_WRP3_WRP3)
			  if((status == HAL_OK) && (WRP3_Data != 0xFFU))
			  {
				OB->WRP3 |= WRP3_Data;

				/* Wait for last operation to be completed */
				while(__HAL_FLASH_GET_FLAG(FLASH_FLAG_BSY) != RESET);
			  }
		#endif /* OB_WRP3_WRP3 */
		CLEAR_BIT(FLASH->CR, FLASH_CR_OPTPG);
		while(__HAL_FLASH_GET_FLAG(FLASH_FLAG_BSY) != RESET);
	}
	else
	{

	}

    HAL_FLASH_OB_Lock();
    return status;
}

/*
Modifying user option bytes
To modify the user option value, follow the sequence below:
1. Check that no Flash memory operation is ongoing by checking the BSY bit in the
FLASH_SR register
2. Write the desired option value in the FLASH_OPTCR register.
3. Set the option start bit (OPTSTRT) in the FLASH_OPTCR register
4. Wait for the BSY bit to be cleared.
*/
uint8_t configure_flash_sector_rw_protection(uint8_t page_details, uint8_t protection_mode, uint8_t disable)
{
    //First configure the protection mode
    //protection_mode =1 , means write protect of the user flash sectors
    //protection_mode =2, means read/write protect of the user flash sectors
    //According to RM of stm32f446xx TABLE 9, We have to modify the address 0x1FFF C008 bit 15(SPRMOD)
/*
	Option byte programming
	The option bytes are programmed differently from normal user addresses. The number of
	option bytes is limited to 8 (4 for write protection, 1 for readout protection, 1 for hardware
	configuration, and 2 for data storage). After unlocking the FPEC, the user has to authorize
	the programming of the option bytes by writing the same set of KEYS (KEY1 and KEY2) to
	the FLASH_OPTKEYR register (refer to Unlocking the Flash memory for key values). Then,
	the OPTWRE bit in the FLASH_CR register will be set by hardware and the user has to set
	the OPTPG bit in the FLASH_CR register and perform a half-word write operation at the
	desired Flash address.

	The value of the addressed option byte is first read to check it is really erased. If not, the
	program operation is skipped and a warning is issued by the WRPRTERR bit in the
	FLASH_SR register. The end of the program operation is indicated by the EOP bit in the
	FLASH_SR register.
	The LSB value is automatically complemented into the MSB before the programming
	operation starts. This guarantees that the option byte and its complement are always
	correct.
	The sequence is as follows:
	• Check that no Flash memory operation is ongoing by checking the BSY bit in the
	FLASH_SR register.
	• Unlock the OPTWRE bit in the FLASH_CR register.
	• Set the OPTPG bit in the FLASH_CR register
	• Write the data (half-word) to the desired address
	• Wait for the BSY bit to be reset.
	• Read the programmed value and verify.
	When the Flash memory read protection option is changed from protected to unprotected, a
	Mass Erase of the main Flash memory is performed before reprogramming the read
	protection option. If the user wants to change an option other than the read protection
	option, then the mass erase is not performed. The erased state of the read protection option
	byte protects the Flash memory.
*/
	 //Flash control register (FLASH_CR) 0x4002 2010 - 0x4002 2013 4 FLASH_CR
    volatile uint32_t *pFLASH_CR = (uint32_t*) 0x40022010;
    uint8_t read_protection = 0;
    //AA - Level 0, XX - Level 1, CC = Level 2
    read_protection = get_flash_rdp_level();
    HAL_StatusTypeDef rdp_return = HAL_OK;
    HAL_StatusTypeDef wrp_return = HAL_OK;
    uint32_t page_value = 0;

    if(disable == 0)
    {
    	page_value = page_details_to_2pages(page_details);
    }

	  if(disable)
		{

			//disable all r/w protection on sectors
		  /*
		   * 	Changing read protection level
				It is easy to move from level 0 to level 1 by changing the value of the RDP byte to any value
				(except 0xCC). By programming the 0xCC value in the RDP byte, it is possible to go to level
				2 either directly from level 0 or from level 1. On the contrary, the change to level 0 (no
				protection) is not possible without a main Flash memory Mass Erase operation. This Mass
				Erase is generated as soon as 0xAA is programmed in the RDP byte.
				Note: When the Mass Erase command is used, the backup registers (RTC_BKPxR in the RTC)
				are also reset.
				To validate the protection level change, the option bytes must be reloaded through the
				OBL_LAUNCH bit in Flash control register
		   */

		  /* Only allow */
		  	if(read_protection != 0xAA)
		  	{
		  		//Level 0 no protection
		  		//no change needed

		  		rdp_return = set_flash_rdp_level(OB_RDP_LEVEL_0);
		  	}

		  	for(uint8_t idx=0;idx<255;idx++)
		  	{
		  		wrp_return =  disable_write_flash_prot(idx);
		  	}
		  	//HAL_StatusTypeDef FLASH_OB_DisableWRP(uint32_t WriteProtectPage)
		  	//wrp_return = FLASH_OB_DisableWRP(page_value);
			//Option byte configuration unlock

			return 0;

		}

	   if(protection_mode == (uint8_t) 1)
    {
           //we are putting write protection on the sectors encoded in sector_details argument

			//Option byte configuration unlock
		  // wrp_return = FLASH_OB_EnableWRP(page_value);
    }
	else if (protection_mode == (uint8_t) 2)
    {
	  	//Option byte configuration unlock
		//not supported
    }

		return 0;
}

uint16_t read_OB_rw_protection_status(void)
{
    //This structure is given by ST Flash driver to hold the OB(Option Byte) contents .
	FLASH_OBProgramInitTypeDef OBInit;

	//First unlock the OB(Option Byte) memory access
	HAL_FLASH_OB_Unlock();
	//get the OB configuration details
	HAL_FLASHEx_OBGetConfig(&OBInit);
	//Lock back .
	HAL_FLASH_Lock();

	//We are just interested in r/w protection status of the PAGES.
	return (uint16_t)OBInit.WRPPage;

}
/* USER CODE END 4 */

void Error_Handler(void)
{
}

/************************ (C) COPYRIGHT STMicroelectronics *****END OF FILE****/
